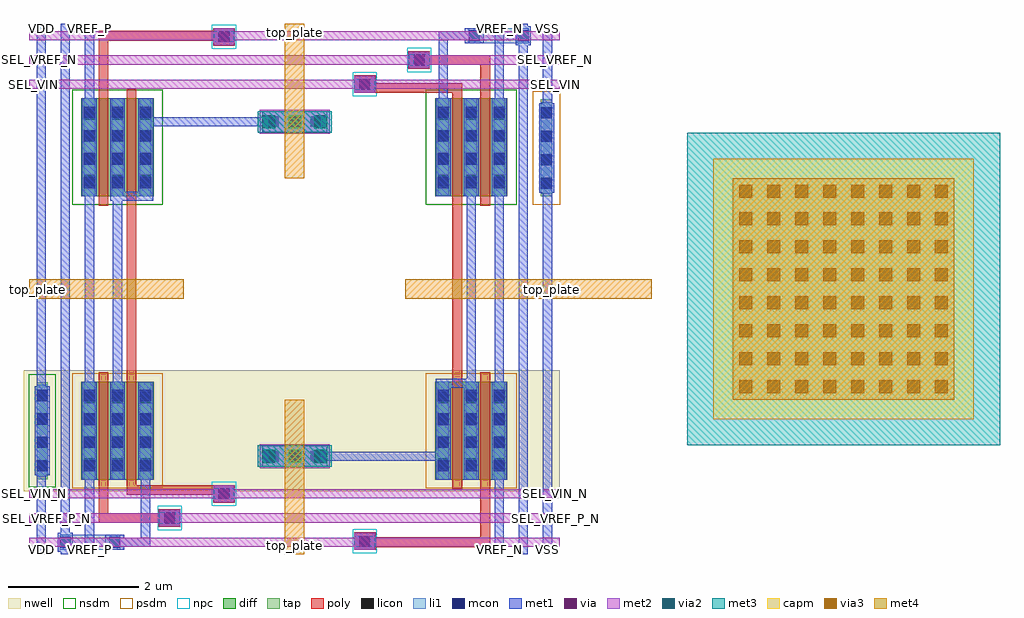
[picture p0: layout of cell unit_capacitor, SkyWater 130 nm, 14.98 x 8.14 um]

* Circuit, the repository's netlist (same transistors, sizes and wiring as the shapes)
* +++++++++++++++++++++++++++++++++++++++++++++++++++++ *
* CDL Netlist:                                          *
*                                                       *
* Cell Name  : unit_capacitor                           *
* Netlisted  : Wed Jul 15 21:54:36 2026                 *
* PVS Version: 16.10-p006 Thu Jul 27 18:05:02 PDT 2017 *
* +++++++++++++++++++++++++++++++++++++++++++++++++++++ *
*.LDD
*.DEVTMPLT 0 R(res_generic_m1) met1_res met1(P) met1(N)
*.DEVTMPLT 1 R(res_generic_m2) met2_res met2(P) met2(N)
*.DEVTMPLT 2 R(res_generic_m3) met3_res met3(P) met3(N)
*.DEVTMPLT 3 R(res_generic_m4) met4_res met4(P) met4(N)
*.DEVTMPLT 4 R(res_generic_m5) met5_res met5(P) met5(N)
*.DEVTMPLT 5 D(diode_pd2nw_05v5) diode_pd2nw_05v5_rec psd(PLUS) nwell(MINUS)
*.DEVTMPLT 6 D(diode_pd2nw_05v5_hvt) diode_pd2nw_05v5_hvt_rec psd(PLUS) nwell(MINUS)
*.DEVTMPLT 7 D(diode_pd2nw_05v5_lvt) diode_pd2nw_05v5_lvt_rec psd(PLUS) nwell(MINUS)
*.DEVTMPLT 8 D(diode_pd2nw_11v0) diode_pd2nw_11v0_rec psd(PLUS) nwell(MINUS)
*.DEVTMPLT 9 D(diode_pw2nd_05v5) diode_pw2nd_05v5_rec pwell_all(PLUS) nsd(MINUS)
*.DEVTMPLT 10 D(diode_pw2nd_05v5_lvt) diode_pw2nd_05v5_lvt_rec pwell_all(PLUS) nsd(MINUS)
*.DEVTMPLT 11 D(diode_pw2nd_05v5_nvt) diode_pw2nd_05v5_nvt_rec pwell_all(PLUS) nsd(MINUS)
*.DEVTMPLT 12 D(diode_pw2nd_11v0) diode_pw2nd_11v0_rec pwell_all(PLUS) nsd(MINUS)
*.DEVTMPLT 13 R(RES_GENERIC_ND) diff_res np_term(P) np_term(N)
*.DEVTMPLT 14 R(RES_GENERIC_PD) diff_res pp_term(P) pp_term(N)
*.DEVTMPLT 15 MN(nfet_01v8) nfet_01v8_rec nSourceDrain(D) nfet(G) nSourceDrain(S) pwell_all(B)
*.DEVTMPLT 16 MP(pfet_01v8) pfet_01v8_rec pSourceDrain(D) pfet(G) pSourceDrain(S) nwell(B)
*.DEVTMPLT 17 MP(pfet_01v8_lvt) lvtpfet_01v8_rec pSourceDrain(D) lvtpfet(G) pSourceDrain(S) nwell(B)
*.DEVTMPLT 18 MN(nfet_01v8_lvt) lvtnfet_01v8_rec nSourceDrain(D) lvtnfet(G) nSourceDrain(S) pwell_all(B)
*.DEVTMPLT 19 MP(pfet_01v8_hvt) hvtpfet_01v8_rec pSourceDrain(D) hvtpfet(G) pSourceDrain(S) nwell(B)
*.DEVTMPLT 20 MN(nfet_03v3_nvt) HV_ngate_3v3 HV_source_drain(D) HV_FET_gate(G) HV_source_drain(S) pwell_all(B)
*.DEVTMPLT 21 MN(nfet_05v0_nvt) HV_ngate_5v0 HV_source_drain(D) HV_FET_gate(G) HV_source_drain(S) pwell_all(B)
*.DEVTMPLT 22 MN(nfet_g5v0d10v5) HV_ngate_5v10v HV_source_drain(D) HV_FET_gate(G) HV_source_drain(S) pwell_all(B)
*.DEVTMPLT 23 MP(pfet_g5v0d10v5) HV_pgate_5v10v HV_source_drain(D) HV_FET_gate(G) HV_source_drain(S) nwell(B)
*.DEVTMPLT 24 MN(nfet_20v0) nfet_v20_rec nfet_v20_drain(D) nfet_v20_gate(G) nfet_v20_source(S) pwell_all(B)
*.DEVTMPLT 25 MN(nfet_20v0_zvt) nfet_v20_zvt_rec nfet_v20_drain(D) nfet_v20_gate(G) nfet_v20_source(S) pwell_all(B)
*.DEVTMPLT 26 MP(pfet_20v0) pfet_v20_rec pfet_v20_drain(D) pfet_v20_gate(G) pfet_v20_source(S) nwell(B)
*.DEVTMPLT 27 Q(npn_05v5) npn_rec npnC(C) npnB(B) npnE(E) pwell_all(BN)
*.DEVTMPLT 28 Q(npn_11v0) hvnpn_rec npnC(C) npnB(B) hvnpnE(E) pwell_all(BN)
*.DEVTMPLT 29 Q(pnp_05v5) pnp_rec pnpC(C) pnpB(B) pnpE(E) pwell_all(BN)
*.DEVTMPLT 30 R(res_high_po_0p35) res_high_po_0p35_rec prec_resistor_term(PLUS) prec_resistor_term(MINUS) pwell_all(B)
*.DEVTMPLT 31 R(res_high_po_0p69) res_high_po_0p69_rec prec_resistor_term(PLUS) prec_resistor_term(MINUS) pwell_all(B)
*.DEVTMPLT 32 R(res_high_po_1p41) res_high_po_1p41_rec prec_resistor_term(PLUS) prec_resistor_term(MINUS) pwell_all(B)
*.DEVTMPLT 33 R(res_high_po_2p85) res_high_po_2p85_rec prec_resistor_term(PLUS) prec_resistor_term(MINUS) pwell_all(B)
*.DEVTMPLT 34 R(res_high_po_5p73) res_high_po_5p73_rec prec_resistor_term(PLUS) prec_resistor_term(MINUS) pwell_all(B)
*.DEVTMPLT 35 R(res_xhigh_po_0p35) res_xhigh_po_0p35_rec prec_resistor_term(PLUS) prec_resistor_term(MINUS) pwell_all(B)
*.DEVTMPLT 36 R(res_xhigh_po_0p69) res_xhigh_po_0p69_rec prec_resistor_term(PLUS) prec_resistor_term(MINUS) pwell_all(B)
*.DEVTMPLT 37 R(res_xhigh_po_1p41) res_xhigh_po_1p41_rec prec_resistor_term(PLUS) prec_resistor_term(MINUS) pwell_all(B)
*.DEVTMPLT 38 R(res_xhigh_po_2p85) res_xhigh_po_2p85_rec prec_resistor_term(PLUS) prec_resistor_term(MINUS) pwell_all(B)
*.DEVTMPLT 39 R(res_xhigh_po_5p73) res_xhigh_po_5p73_rec prec_resistor_term(PLUS) prec_resistor_term(MINUS) pwell_all(B)
*.DEVTMPLT 40 C(cap_mim_m3__base) capacitor top_plate(PLUS) bottom_plate(MINUS)

* +++++++++++++++++++++++++++++++++++++++++++++++++++++ *
* Sub cell: cap_mim_m3__base$$9                         *
* +++++++++++++++++++++++++++++++++++++++++++++++++++++ *
.subckt cap_mim_m3__base$$9
** N=2 EP=0 FDC=1
C0 2 1 L=4e-06 W=4e-06 $[cap_mim_m3__base] $X=0 $Y=0 $dt=40
.ends cap_mim_m3__base$$9

* +++++++++++++++++++++++++++++++++++++++++++++++++++++ *
* Sub cell: pfet_01v8$$10                               *
* +++++++++++++++++++++++++++++++++++++++++++++++++++++ *
.subckt pfet_01v8$$10 1 2 3 5
** N=9 EP=4 FDC=1
M0 3 1 2 5 pfet_01v8 L=1.5e-07 W=1.5e-06 $X=0 $Y=0 $dt=16
.ends pfet_01v8$$10

* +++++++++++++++++++++++++++++++++++++++++++++++++++++ *
* Sub cell: nfet_01v8$$11                               *
* +++++++++++++++++++++++++++++++++++++++++++++++++++++ *
.subckt nfet_01v8$$11 1 2 3 4
** N=8 EP=4 FDC=1
M0 2 1 3 4 nfet_01v8 L=1.5e-07 W=1.5e-06 $X=0 $Y=0 $dt=15
.ends nfet_01v8$$11

* +++++++++++++++++++++++++++++++++++++++++++++++++++++ *
* Sub cell: pfet_01v8$$12                               *
* +++++++++++++++++++++++++++++++++++++++++++++++++++++ *
.subckt pfet_01v8$$12 1 2 3 5
** N=13 EP=4 FDC=1
M0 3 1 2 5 pfet_01v8 L=1.5e-07 W=1.5e-06 $X=0 $Y=0 $dt=16
.ends pfet_01v8$$12

* +++++++++++++++++++++++++++++++++++++++++++++++++++++ *
* Sub cell: nfet_01v8$$13                               *
* +++++++++++++++++++++++++++++++++++++++++++++++++++++ *
.subckt nfet_01v8$$13 1 2 3 4
** N=12 EP=4 FDC=1
M0 3 1 2 4 nfet_01v8 L=1.5e-07 W=1.5e-06 $X=0 $Y=0 $dt=15
.ends nfet_01v8$$13

* +++++++++++++++++++++++++++++++++++++++++++++++++++++ *
* Sub cell: unit_capacitor                              *
* +++++++++++++++++++++++++++++++++++++++++++++++++++++ *
.subckt unit_capacitor SEL_VIN SEL_VIN_N SEL_VREF_N SEL_VREF_N_N SEL_VREF_P SEL_VREF_P_N VDD VIN VREF_N VREF_P
+ VSS top_plate
** N=14 EP=12 FDC=9
X22 cap_mim_m3__base$$9 $T=10500 1200 0 0 $X=10100 $Y=800
X23 SEL_VIN_N VIN 11 VDD pfet_01v8$$10 $T=1645 275 1 180 $X=1260 $Y=95
X24 SEL_VIN 10 10 VDD pfet_01v8$$10 $T=6495 275 0 0 $X=6050 $Y=95
X25 SEL_VIN_N 11 11 VSS nfet_01v8$$11 $T=1495 4625 0 0 $X=1430 $Y=4475
X26 SEL_VIN VIN 10 VSS nfet_01v8$$11 $T=6645 4625 1 180 $X=6090 $Y=4475
X27 SEL_VREF_P_N 11 VREF_P VDD pfet_01v8$$12 $T=1215 275 1 180 $X=620 $Y=95
X28 SEL_VREF_N_N 10 VREF_N VDD pfet_01v8$$12 $T=6925 275 0 0 $X=6520 $Y=95
X29 SEL_VREF_P VREF_P 11 VSS nfet_01v8$$13 $T=1065 4625 0 0 $X=660 $Y=4475
X30 SEL_VREF_N VREF_N 10 VSS nfet_01v8$$13 $T=7075 4625 1 180 $X=6670 $Y=4475
.ends unit_capacitor

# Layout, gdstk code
from math import pi, radians
import gdstk
lib = gdstk.Library(unit=1e-6, precision=1e-09)
def R(c, l, rs):  # rectangles x0, y0, x1, y1
    for r in rs: c.add(gdstk.rectangle(r[:2], r[2:], *l))
def A(c, l, x, y, w, h, nx, ny, dx, dy):  # array of equal rectangles
    R(c, l, [(x+i*dx, y+j*dy, x+i*dx+w, y+j*dy+h) for i in range(nx) for j in range(ny)])
nwell = (64, 20)
diff = (65, 20)
tap = (65, 44)
poly = (66, 20)
licon = (66, 44)
li1 = (67, 20)
mcon = (67, 44)
met1 = (68, 20)
via = (68, 44)
met2 = (69, 20)
via2 = (69, 44)
met3 = (70, 20)
via3 = (70, 44)
met4 = (71, 20)
capm = (89, 44)
nsdm = (93, 44)
psdm = (94, 20)
npc = (95, 20)

cap_mim_m3__base__9 = lib.new_cell('cap_mim_m3__base$$9')
R(cap_mim_m3__base__9, met3, [(-0.4,-0.4,4.4,4.4)])
A(cap_mim_m3__base__9, via3, 0.4, 0.4, 0.2, 0.2, 6, 6, 0.43, 0.43)
A(cap_mim_m3__base__9, via3, 2.975, 0.4, 0.2, 0.2, 1, 6, 0, 0.43)
A(cap_mim_m3__base__9, via3, 3.4, 0.4, 0.2, 0.2, 1, 6, 0, 0.43)
A(cap_mim_m3__base__9, via3, 0.4, 2.975, 0.2, 0.2, 6, 2, 0.43, 0.425)
R(cap_mim_m3__base__9, via3, [(2.975,2.975,3.175,3.175), (3.4,2.975,3.6,3.175), (2.975,3.4,3.175,3.6), (3.4,3.4,3.6,3.6)])
R(cap_mim_m3__base__9, met4, [(0.3,0.3,3.7,3.7)])
R(cap_mim_m3__base__9, capm, [(0,0,4,4)])
cap_mim_m3__base__9.add(gdstk.Label('MINUS', (2,2), layer=70, texttype=20))
cap_mim_m3__base__9.add(gdstk.Label('PLUS', (2,2), layer=71, texttype=20))

pfet_01v8__10 = lib.new_cell('pfet_01v8$$10')
R(pfet_01v8__10, nwell, [(-0.445,-0.18,0.385,1.68)])
R(pfet_01v8__10, diff, [(-0.265,0,0,1.5), (0,0,0.15,1.5), (0.15,0,0.205,1.5)])
R(pfet_01v8__10, poly, [(0,-0.15,0.15,-0.095), (0,-0.095,0.15,0), (0,0,0.15,1.5), (0,1.5,0.15,1.595), (0,1.595,0.15,1.65)])
A(pfet_01v8__10, licon, -0.225, 0.155, 0.17, 0.17, 1, 4, 0, 0.34)
R(pfet_01v8__10, li1, [(-0.225,0,-0.055,1.5)])
A(pfet_01v8__10, mcon, -0.225, 0.125, 0.17, 0.17, 1, 4, 0, 0.36)
R(pfet_01v8__10, met1, [(-0.255,0,-0.025,1.5)])
R(pfet_01v8__10, psdm, [(-0.405,-0.13,0.215,1.63)])
pfet_01v8__10.add(gdstk.Label('D_drain_1', (0.177,0.75), layer=65, texttype=20))
pfet_01v8__10.add(gdstk.Label('S_source_0', (-0.132,0.75), layer=65, texttype=20))
pfet_01v8__10.add(gdstk.Label('G_gate_1', (0.075,-0.122), layer=66, texttype=20))
pfet_01v8__10.add(gdstk.Label('G_gate_1', (0.075,1.622), layer=66, texttype=20))
pfet_01v8__10.add(gdstk.Label('S_source_0', (-0.14,0.75), layer=68, texttype=20))
pfet_01v8__10.add(gdstk.Label('B', (-0.03,0.75), layer=64, texttype=20))

nfet_01v8__11 = lib.new_cell('nfet_01v8$$11')
R(nfet_01v8__11, diff, [(-0.055,0,0,1.5), (0,0,0.15,1.5), (0.15,0,0.415,1.5)])
R(nfet_01v8__11, poly, [(0,-0.15,0.15,-0.095), (0,-0.095,0.15,0), (0,0,0.15,1.5), (0,1.5,0.15,1.595), (0,1.595,0.15,1.65)])
A(nfet_01v8__11, licon, 0.205, 0.155, 0.17, 0.17, 1, 4, 0, 0.34)
R(nfet_01v8__11, li1, [(0.205,0,0.375,1.5)])
A(nfet_01v8__11, mcon, 0.205, 0.125, 0.17, 0.17, 1, 4, 0, 0.36)
R(nfet_01v8__11, met1, [(0.175,0,0.405,1.5)])
R(nfet_01v8__11, nsdm, [(-0.065,-0.13,0.555,1.63)])
nfet_01v8__11.add(gdstk.Label('D_drain_1', (0.282,0.75), layer=65, texttype=20))
nfet_01v8__11.add(gdstk.Label('S_source_0', (-0.027,0.75), layer=65, texttype=20))
nfet_01v8__11.add(gdstk.Label('G_gate_1', (0.075,-0.122), layer=66, texttype=20))
nfet_01v8__11.add(gdstk.Label('G_gate_1', (0.075,1.622), layer=66, texttype=20))
nfet_01v8__11.add(gdstk.Label('D_drain_1', (0.29,0.75), layer=68, texttype=20))

pfet_01v8__12 = lib.new_cell('pfet_01v8$$12')
R(pfet_01v8__12, nwell, [(-0.405,-0.18,0.595,1.68)])
R(pfet_01v8__12, diff, [(-0.225,0,0,1.5), (0,0,0.15,1.5), (0.15,0,0.415,1.5)])
R(pfet_01v8__12, poly, [(0,-0.15,0.15,-0.095), (0,-0.095,0.15,0), (0,0,0.15,1.5), (0,1.5,0.15,1.595), (0,1.595,0.15,1.65)])
A(pfet_01v8__12, licon, -0.225, 0.155, 0.17, 0.17, 1, 4, 0, 0.34)
A(pfet_01v8__12, licon, 0.205, 0.155, 0.17, 0.17, 1, 4, 0, 0.34)
R(pfet_01v8__12, li1, [(-0.225,0,-0.055,1.5), (0.205,0,0.375,1.5)])
A(pfet_01v8__12, mcon, -0.225, 0.125, 0.17, 0.17, 1, 4, 0, 0.36)
A(pfet_01v8__12, mcon, 0.205, 0.125, 0.17, 0.17, 1, 4, 0, 0.36)
R(pfet_01v8__12, met1, [(-0.255,0,-0.025,1.5), (0.175,0,0.405,1.5)])
R(pfet_01v8__12, psdm, [(-0.235,-0.13,0.555,1.63)])
pfet_01v8__12.add(gdstk.Label('D_drain_1', (0.282,0.75), layer=65, texttype=20))
pfet_01v8__12.add(gdstk.Label('S_source_0', (-0.112,0.75), layer=65, texttype=20))
pfet_01v8__12.add(gdstk.Label('G_gate_1', (0.075,-0.122), layer=66, texttype=20))
pfet_01v8__12.add(gdstk.Label('G_gate_1', (0.075,1.622), layer=66, texttype=20))
pfet_01v8__12.add(gdstk.Label('D_drain_1', (0.29,0.75), layer=68, texttype=20))
pfet_01v8__12.add(gdstk.Label('S_source_0', (-0.14,0.75), layer=68, texttype=20))
pfet_01v8__12.add(gdstk.Label('B', (0.095,0.75), layer=64, texttype=20))

nfet_01v8__13 = lib.new_cell('nfet_01v8$$13')
R(nfet_01v8__13, diff, [(-0.265,0,0,1.5), (0,0,0.15,1.5), (0.15,0,0.375,1.5)])
R(nfet_01v8__13, poly, [(0,-0.15,0.15,-0.095), (0,-0.095,0.15,0), (0,0,0.15,1.5), (0,1.5,0.15,1.595), (0,1.595,0.15,1.65)])
A(nfet_01v8__13, licon, -0.225, 0.155, 0.17, 0.17, 1, 4, 0, 0.34)
A(nfet_01v8__13, licon, 0.205, 0.155, 0.17, 0.17, 1, 4, 0, 0.34)
R(nfet_01v8__13, li1, [(-0.225,0,-0.055,1.5), (0.205,0,0.375,1.5)])
A(nfet_01v8__13, mcon, -0.225, 0.125, 0.17, 0.17, 1, 4, 0, 0.36)
A(nfet_01v8__13, mcon, 0.205, 0.125, 0.17, 0.17, 1, 4, 0, 0.36)
R(nfet_01v8__13, met1, [(-0.255,0,-0.025,1.5), (0.175,0,0.405,1.5)])
R(nfet_01v8__13, nsdm, [(-0.405,-0.13,0.385,1.63)])
nfet_01v8__13.add(gdstk.Label('D_drain_1', (0.262,0.75), layer=65, texttype=20))
nfet_01v8__13.add(gdstk.Label('S_source_0', (-0.132,0.75), layer=65, texttype=20))
nfet_01v8__13.add(gdstk.Label('G_gate_1', (0.075,-0.122), layer=66, texttype=20))
nfet_01v8__13.add(gdstk.Label('G_gate_1', (0.075,1.622), layer=66, texttype=20))
nfet_01v8__13.add(gdstk.Label('D_drain_1', (0.29,0.75), layer=68, texttype=20))
nfet_01v8__13.add(gdstk.Label('S_source_0', (-0.14,0.75), layer=68, texttype=20))

polyconn__1 = lib.new_cell('polyConn$$1')
R(polyconn__1, poly, [(-0.135,-0.165,0.135,0.165)])
R(polyconn__1, licon, [(-0.085,-0.085,0.085,0.085)])
R(polyconn__1, li1, [(-0.085,-0.165,0.085,0.165)])
R(polyconn__1, mcon, [(-0.085,-0.085,0.085,0.085)])
R(polyconn__1, met1, [(-0.13,-0.16,0.13,0.16)])
R(polyconn__1, npc, [(-0.185,-0.185,0.185,0.185)])

m1m2_c__2 = lib.new_cell('M1M2_C$$2')
R(m1m2_c__2, met1, [(-0.13,-0.16,0.13,0.16)])
R(m1m2_c__2, via, [(-0.075,-0.075,0.075,0.075)])
R(m1m2_c__2, met2, [(-0.13,-0.16,0.13,0.16)])

l1m1_c__3 = lib.new_cell('L1M1_C$$3')
R(l1m1_c__3, li1, [(-0.085,-0.115,0.085,0.115)])
R(l1m1_c__3, mcon, [(-0.085,-0.085,0.085,0.085)])
R(l1m1_c__3, met1, [(-0.115,-0.145,0.115,0.145)])

l1m1_c__4 = lib.new_cell('L1M1_C$$4')
R(l1m1_c__4, li1, [(-0.085,-0.115,0.085,0.115)])
R(l1m1_c__4, mcon, [(-0.085,-0.085,0.085,0.085)])
R(l1m1_c__4, met1, [(-0.145,-0.115,0.145,0.115)])

nwelltap__5 = lib.new_cell('nwellTap$$5')
R(nwelltap__5, nwell, [(-0.265,-0.925,0.265,0.925)])
R(nwelltap__5, tap, [(-0.085,-0.745,0.085,0.745)])
A(nwelltap__5, licon, -0.085, -0.625, 0.17, 0.17, 1, 4, 0, 0.36)
R(nwelltap__5, li1, [(-0.085,-0.705,0.085,0.705)])
A(nwelltap__5, mcon, -0.085, -0.625, 0.17, 0.17, 1, 4, 0, 0.36)
R(nwelltap__5, met1, [(-0.115,-0.685,0.115,0.685)])
R(nwelltap__5, nsdm, [(-0.21,-0.87,0.21,0.87)])

subtap__6 = lib.new_cell('subTap$$6')
R(subtap__6, tap, [(-0.085,-0.745,0.085,0.745)])
A(subtap__6, licon, -0.085, -0.625, 0.17, 0.17, 1, 4, 0, 0.36)
R(subtap__6, li1, [(-0.085,-0.705,0.085,0.705)])
A(subtap__6, mcon, -0.085, -0.625, 0.17, 0.17, 1, 4, 0, 0.36)
R(subtap__6, met1, [(-0.115,-0.685,0.115,0.685)])
R(subtap__6, psdm, [(-0.21,-0.87,0.21,0.87)])

m2m3_c__7 = lib.new_cell('M2M3_C$$7')
R(m2m3_c__7, met2, [(-0.54,-0.185,0.54,0.185)])
A(m2m3_c__7, via2, -0.5, -0.1, 0.2, 0.2, 3, 1, 0.4, 0)
R(m2m3_c__7, met3, [(-0.565,-0.165,0.565,0.165)])

m1m2_c__8 = lib.new_cell('M1M2_C$$8')
R(m1m2_c__8, met1, [(-0.5,-0.16,0.5,0.16)])
A(m1m2_c__8, via, -0.395, -0.075, 0.15, 0.15, 3, 1, 0.32, 0)
R(m1m2_c__8, met2, [(-0.54,-0.185,0.54,0.185)])

unit_capacitor = lib.new_cell('unit_capacitor')
R(unit_capacitor, nwell, [(-0.08,0.095,8.14,1.955)])
A(unit_capacitor, met1, 0.115, -0.87, 0.14, 0.14, 3, 2, 0.37, 8)
A(unit_capacitor, met1, 7.145, -0.87, 0.14, 0.14, 3, 2, 0.37, 8)
A(unit_capacitor, met2, 0, -0.755, 0.14, 0.14, 1, 3, 0, 0.37)
A(unit_capacitor, met2, 8, -0.755, 0.14, 0.14, 1, 3, 0, 0.37)
A(unit_capacitor, met2, 0, 6.275, 0.14, 0.14, 1, 3, 0, 0.37)
A(unit_capacitor, met2, 8, 6.275, 0.14, 0.14, 1, 3, 0, 0.37)
R(unit_capacitor, met4, [(3.92,-0.87,4.22,-0.615), (0,3.05,0.255,3.35), (7.885,3.05,8.14,3.35), (3.92,7.015,4.22,7.27)])
unit_capacitor.add(gdstk.FlexPath([(8.14,3.2),(9.555,3.2)], 0.3, ends="flush", simple_path=True, layer=71, datatype=20))  # met4
unit_capacitor.add(gdstk.FlexPath([(4.07,7.015),(4.07,4.9)], 0.3, ends="flush", simple_path=True, layer=71, datatype=20))  # met4
unit_capacitor.add(gdstk.FlexPath([(0.255,3.2),(2.37,3.2)], 0.3, ends="flush", simple_path=True, layer=71, datatype=20))  # met4
unit_capacitor.add(gdstk.FlexPath([(8.075,3.2),(5.77,3.2)], 0.3, ends="flush", simple_path=True, layer=71, datatype=20))  # met4
unit_capacitor.add(gdstk.FlexPath([(4.07,-0.615),(4.07,1.5)], 0.3, ends="flush", simple_path=True, layer=71, datatype=20))  # met4
unit_capacitor.add(gdstk.FlexPath([(3.66,5.765),(4.075,5.765)], 0.33, ends=(0.15, 0), simple_path=True, layer=70, datatype=20))  # met3
unit_capacitor.add(gdstk.FlexPath([(6.83,7.085),(7.585,7.085)], 0.23, ends="flush", simple_path=True, layer=67, datatype=20))  # li1
unit_capacitor.add(gdstk.FlexPath([(1.31,-0.685),(0.555,-0.685)], 0.23, ends="flush", simple_path=True, layer=67, datatype=20))  # li1
unit_capacitor.add(gdstk.FlexPath([(5.15,-0.685),(5.15,-0.67)], 0.15, ends=(0.075, 0), simple_path=True, layer=66, datatype=20))  # poly
unit_capacitor.add(gdstk.FlexPath([(7,-0.685),(5.15,-0.685)], 0.15, ends="extended", simple_path=True, layer=66, datatype=20))  # poly
unit_capacitor.add(gdstk.FlexPath([(2.99,7.085),(2.99,7.07)], 0.15, ends=(0.075, 0), simple_path=True, layer=66, datatype=20))  # poly
unit_capacitor.add(gdstk.FlexPath([(1.14,7.085),(2.99,7.085)], 0.15, ends="extended", simple_path=True, layer=66, datatype=20))  # poly
unit_capacitor.add(gdstk.FlexPath([(6.57,4.475),(6.57,1.925)], 0.15, ends="flush", simple_path=True, layer=66, datatype=20))  # poly
unit_capacitor.add(gdstk.FlexPath([(1.57,0.115),(2.99,0.115)], 0.15, ends=(0.075, 0.165), simple_path=True, layer=66, datatype=20))  # poly
unit_capacitor.add(gdstk.FlexPath([(6.57,6.295),(6.57,6.285)], 0.15, ends=(0, 0.075), simple_path=True, layer=66, datatype=20))  # poly
unit_capacitor.add(gdstk.FlexPath([(7,6.715),(5.985,6.715)], 0.15, ends=(0.075, 0), simple_path=True, layer=66, datatype=20))  # poly
unit_capacitor.add(gdstk.FlexPath([(1.14,0.125),(1.14,-0.315)], 0.15, ends=(0, 0.075), simple_path=True, layer=66, datatype=20))  # poly
unit_capacitor.add(gdstk.FlexPath([(1.14,6.275),(1.14,7.085)], 0.15, ends=(0, 0.075), simple_path=True, layer=66, datatype=20))  # poly
unit_capacitor.add(gdstk.FlexPath([(6.57,6.285),(5.15,6.285)], 0.15, ends=(0.075, 0.165), simple_path=True, layer=66, datatype=20))  # poly
unit_capacitor.add(gdstk.FlexPath([(1.57,0.105),(1.57,0.115)], 0.15, ends=(0, 0.075), simple_path=True, layer=66, datatype=20))  # poly
unit_capacitor.add(gdstk.FlexPath([(5.15,6.285),(5.15,6.345)], 0.33, ends=(0.075, 0), simple_path=True, layer=66, datatype=20))  # poly
unit_capacitor.add(gdstk.FlexPath([(2.99,0.115),(2.99,0.055)], 0.33, ends=(0.075, 0), simple_path=True, layer=66, datatype=20))  # poly
unit_capacitor.add(gdstk.FlexPath([(7,6.275),(7,6.715)], 0.15, ends=(0, 0.075), simple_path=True, layer=66, datatype=20))  # poly
unit_capacitor.add(gdstk.FlexPath([(1.57,4.495),(1.57,1.905)], 0.15, ends="flush", simple_path=True, layer=66, datatype=20))  # poly
unit_capacitor.add(gdstk.FlexPath([(7,0.125),(7,-0.685)], 0.15, ends=(0, 0.075), simple_path=True, layer=66, datatype=20))  # poly
unit_capacitor.add(gdstk.FlexPath([(1.14,-0.315),(2.155,-0.315)], 0.15, ends=(0.075, 0), simple_path=True, layer=66, datatype=20))  # poly
unit_capacitor.add(gdstk.FlexPath([(1.355,1.755),(1.355,4.625)], 0.14, ends=(0, 0.07), simple_path=True, layer=68, datatype=20))  # met1
unit_capacitor.add(gdstk.FlexPath([(1.355,4.625),(1.24,4.625)], 0.14, ends=(0.07, 0), simple_path=True, layer=68, datatype=20))  # met1
unit_capacitor.add(gdstk.FlexPath([(6.31,1.755),(6.785,1.755)], 0.14, ends="extended", simple_path=True, layer=68, datatype=20))  # met1
unit_capacitor.add(gdstk.FlexPath([(1.355,4.625),(1.355,4.715)], 0.14, ends="extended", simple_path=True, layer=68, datatype=20))  # met1
unit_capacitor.add(gdstk.FlexPath([(6.355,5.075),(6.355,7.085)], 0.14, ends=(0, 0.07), simple_path=True, layer=68, datatype=20))  # met1
unit_capacitor.add(gdstk.FlexPath([(7.585,7.27),(7.585,7.085)], 0.14, ends="flush", simple_path=True, layer=68, datatype=20))  # met1
unit_capacitor.add(gdstk.FlexPath([(0.555,-0.685),(0.555,7.27)], 0.14, ends="flush", simple_path=True, layer=68, datatype=20))  # met1
unit_capacitor.add(gdstk.FlexPath([(1.785,1.325),(1.785,-0.685)], 0.14, ends=(0, 0.07), simple_path=True, layer=68, datatype=20))  # met1
unit_capacitor.add(gdstk.FlexPath([(4.075,5.765),(1.9,5.765)], 0.14, ends="flush", simple_path=True, layer=68, datatype=20))  # met1
unit_capacitor.add(gdstk.FlexPath([(6.355,7.085),(6.83,7.085)], 0.14, ends=(0.07, 0), simple_path=True, layer=68, datatype=20))  # met1
unit_capacitor.add(gdstk.FlexPath([(4.075,0.635),(6.24,0.635)], 0.14, ends="flush", simple_path=True, layer=68, datatype=20))  # met1
unit_capacitor.add(gdstk.FlexPath([(0.555,-0.87),(0.555,-0.685)], 0.14, ends="flush", simple_path=True, layer=68, datatype=20))  # met1
unit_capacitor.add(gdstk.FlexPath([(1.355,4.715),(1.24,4.715)], 0.14, ends=(0.07, 0), simple_path=True, layer=68, datatype=20))  # met1
unit_capacitor.add(gdstk.FlexPath([(1.83,4.625),(1.355,4.625)], 0.14, ends="extended", simple_path=True, layer=68, datatype=20))  # met1
unit_capacitor.add(gdstk.FlexPath([(1.785,-0.685),(1.31,-0.685)], 0.14, ends=(0.07, 0), simple_path=True, layer=68, datatype=20))  # met1
unit_capacitor.add(gdstk.FlexPath([(0.185,7.27),(0.185,-0.87)], 0.14, ends="flush", simple_path=True, layer=68, datatype=20))  # met1
unit_capacitor.add(gdstk.FlexPath([(6.785,1.755),(6.785,4.645)], 0.14, ends=(0.07, 0), simple_path=True, layer=68, datatype=20))  # met1
unit_capacitor.add(gdstk.FlexPath([(0.925,7.27),(0.925,-0.87)], 0.14, ends="flush", simple_path=True, layer=68, datatype=20))  # met1
unit_capacitor.add(gdstk.FlexPath([(7.955,7.27),(7.955,-0.87)], 0.14, ends="flush", simple_path=True, layer=68, datatype=20))  # met1
unit_capacitor.add(gdstk.FlexPath([(7.585,7.085),(7.585,-0.87)], 0.14, ends="flush", simple_path=True, layer=68, datatype=20))  # met1
unit_capacitor.add(gdstk.FlexPath([(7.215,7.27),(7.215,-0.87)], 0.14, ends="flush", simple_path=True, layer=68, datatype=20))  # met1
unit_capacitor.add(gdstk.FlexPath([(0,7.085),(8.14,7.085)], 0.14, ends="flush", simple_path=True, layer=69, datatype=20))  # met2
unit_capacitor.add(gdstk.FlexPath([(0,6.715),(8.14,6.715)], 0.14, ends="flush", simple_path=True, layer=69, datatype=20))  # met2
unit_capacitor.add(gdstk.FlexPath([(0,6.345),(8.14,6.345)], 0.14, ends="flush", simple_path=True, layer=69, datatype=20))  # met2
unit_capacitor.add(gdstk.FlexPath([(0,-0.685),(8.14,-0.685)], 0.14, ends="flush", simple_path=True, layer=69, datatype=20))  # met2
unit_capacitor.add(gdstk.FlexPath([(0,-0.315),(8.14,-0.315)], 0.14, ends="flush", simple_path=True, layer=69, datatype=20))  # met2
unit_capacitor.add(gdstk.FlexPath([(0,0.055),(8.14,0.055)], 0.14, ends="flush", simple_path=True, layer=69, datatype=20))  # met2
unit_capacitor.add(gdstk.Reference(cap_mim_m3__base__9, (10.5,1.2)))
unit_capacitor.add(gdstk.Reference(pfet_01v8__10, (6.495,0.275)))
unit_capacitor.add(gdstk.Reference(pfet_01v8__10, (1.645,0.275), rotation=pi, x_reflection=True))
unit_capacitor.add(gdstk.Reference(nfet_01v8__11, (1.495,4.625)))
unit_capacitor.add(gdstk.Reference(nfet_01v8__11, (6.645,4.625), rotation=pi, x_reflection=True))
unit_capacitor.add(gdstk.Reference(pfet_01v8__12, (1.215,0.275), rotation=pi, x_reflection=True))
unit_capacitor.add(gdstk.Reference(pfet_01v8__12, (6.925,0.275)))
unit_capacitor.add(gdstk.Reference(nfet_01v8__13, (1.065,4.625)))
unit_capacitor.add(gdstk.Reference(nfet_01v8__13, (7.075,4.625), rotation=pi, x_reflection=True))
unit_capacitor.add(gdstk.Reference(polyconn__1, (5.985,6.715), rotation=pi/2))
unit_capacitor.add(gdstk.Reference(polyconn__1, (2.99,0.055), rotation=pi/2))
unit_capacitor.add(gdstk.Reference(polyconn__1, (5.15,6.345), rotation=pi/2))
unit_capacitor.add(gdstk.Reference(polyconn__1, (5.15,-0.67), rotation=pi/2))
unit_capacitor.add(gdstk.Reference(polyconn__1, (2.99,7.07), rotation=pi/2))
unit_capacitor.add(gdstk.Reference(polyconn__1, (2.155,-0.315), rotation=pi/2))
unit_capacitor.add(gdstk.Reference(m1m2_c__2, (5.985,6.715), rotation=pi/2))
unit_capacitor.add(gdstk.Reference(m1m2_c__2, (2.99,0.055), rotation=pi/2))
unit_capacitor.add(gdstk.Reference(m1m2_c__2, (5.15,6.345), rotation=pi/2))
unit_capacitor.add(gdstk.Reference(m1m2_c__2, (5.15,-0.67), rotation=pi/2))
unit_capacitor.add(gdstk.Reference(m1m2_c__2, (2.99,7.07), rotation=pi/2))
unit_capacitor.add(gdstk.Reference(m1m2_c__2, (2.155,-0.315), rotation=pi/2))
unit_capacitor.add(gdstk.Reference(l1m1_c__3, (7.585,7.085)))
unit_capacitor.add(gdstk.Reference(l1m1_c__3, (0.555,-0.685)))
unit_capacitor.add(gdstk.Reference(l1m1_c__4, (6.83,7.085)))
unit_capacitor.add(gdstk.Reference(l1m1_c__4, (1.31,-0.685)))
unit_capacitor.add(gdstk.Reference(nwelltap__5, (0.2,1.025)))
unit_capacitor.add(gdstk.Reference(subtap__6, (7.94,5.365)))
unit_capacitor.add(gdstk.Reference(m2m3_c__7, (4.075,0.635)))
unit_capacitor.add(gdstk.Reference(m2m3_c__7, (4.075,5.765)))
unit_capacitor.add(gdstk.Reference(m1m2_c__8, (4.075,0.635)))
unit_capacitor.add(gdstk.Reference(m1m2_c__8, (4.075,5.765)))
unit_capacitor.add(gdstk.Label('top_plate', (4.07,-0.742), layer=71, texttype=20))
unit_capacitor.add(gdstk.Label('top_plate', (8.012,3.2), layer=71, texttype=20))
unit_capacitor.add(gdstk.Label('top_plate', (0.127,3.2), layer=71, texttype=20))
unit_capacitor.add(gdstk.Label('top_plate', (4.07,7.142), layer=71, texttype=20))
unit_capacitor.add(gdstk.Label('VREF_P', (0.925,-0.8), layer=68, texttype=20))
unit_capacitor.add(gdstk.Label('VIN', (0.555,-0.8), layer=68, texttype=20))
unit_capacitor.add(gdstk.Label('VDD', (0.185,-0.8), layer=68, texttype=20))
unit_capacitor.add(gdstk.Label('VSS', (7.955,-0.8), layer=68, texttype=20))
unit_capacitor.add(gdstk.Label('VIN', (7.585,-0.8), layer=68, texttype=20))
unit_capacitor.add(gdstk.Label('VREF_N', (7.215,-0.8), layer=68, texttype=20))
unit_capacitor.add(gdstk.Label('VSS', (7.955,7.2), layer=68, texttype=20))
unit_capacitor.add(gdstk.Label('VIN', (7.585,7.2), layer=68, texttype=20))
unit_capacitor.add(gdstk.Label('VREF_N', (7.215,7.2), layer=68, texttype=20))
unit_capacitor.add(gdstk.Label('VREF_P', (0.925,7.2), layer=68, texttype=20))
unit_capacitor.add(gdstk.Label('VIN', (0.555,7.2), layer=68, texttype=20))
unit_capacitor.add(gdstk.Label('VDD', (0.185,7.2), layer=68, texttype=20))
unit_capacitor.add(gdstk.Label('SEL_VREF_N', (8.07,6.715), layer=69, texttype=20))
unit_capacitor.add(gdstk.Label('SEL_VIN', (8.07,6.345), layer=69, texttype=20))
unit_capacitor.add(gdstk.Label('SEL_VREF_P', (8.07,7.085), layer=69, texttype=20))
unit_capacitor.add(gdstk.Label('SEL_VREF_N_N', (8.07,-0.685), layer=69, texttype=20))
unit_capacitor.add(gdstk.Label('SEL_VIN_N', (8.07,0.055), layer=69, texttype=20))
unit_capacitor.add(gdstk.Label('SEL_VREF_P_N', (8.07,-0.315), layer=69, texttype=20))
unit_capacitor.add(gdstk.Label('SEL_VREF_N_N', (0.07,-0.685), layer=69, texttype=20))
unit_capacitor.add(gdstk.Label('SEL_VIN_N', (0.07,0.055), layer=69, texttype=20))
unit_capacitor.add(gdstk.Label('SEL_VREF_P_N', (0.07,-0.315), layer=69, texttype=20))
unit_capacitor.add(gdstk.Label('SEL_VREF_N', (0.07,6.715), layer=69, texttype=20))
unit_capacitor.add(gdstk.Label('SEL_VIN', (0.07,6.345), layer=69, texttype=20))
unit_capacitor.add(gdstk.Label('SEL_VREF_P', (0.07,7.085), layer=69, texttype=20))
unit_capacitor.add(gdstk.Label('SEL_VREF_N', (7.69,6.715), layer=69, texttype=5))
unit_capacitor.add(gdstk.Label('SEL_VIN', (7.86,6.345), layer=69, texttype=5))
unit_capacitor.add(gdstk.Label('SEL_VREF_P', (7.695,7.085), layer=69, texttype=5))
unit_capacitor.add(gdstk.Label('SEL_VREF_N_N', (7.585,-0.685), layer=69, texttype=5))
unit_capacitor.add(gdstk.Label('SEL_VIN_N', (7.76,0.055), layer=69, texttype=5))
unit_capacitor.add(gdstk.Label('SEL_VREF_P_N', (7.595,-0.315), layer=69, texttype=5))
unit_capacitor.add(gdstk.Label('SEL_VREF_N_N', (0.56,-0.685), layer=69, texttype=5))
unit_capacitor.add(gdstk.Label('SEL_VIN_N', (0.39,0.055), layer=69, texttype=5))
unit_capacitor.add(gdstk.Label('SEL_VREF_P_N', (0.55,-0.315), layer=69, texttype=5))
unit_capacitor.add(gdstk.Label('SEL_VREF_N', (0.45,6.715), layer=69, texttype=5))
unit_capacitor.add(gdstk.Label('SEL_VIN', (0.285,6.345), layer=69, texttype=5))
unit_capacitor.add(gdstk.Label('SEL_VREF_P', (0.45,7.085), layer=69, texttype=5))
unit_capacitor.add(gdstk.Label('VREF_P', (0.925,-0.8), layer=68, texttype=5))
unit_capacitor.add(gdstk.Label('VIN', (0.555,-0.8), layer=68, texttype=5))
unit_capacitor.add(gdstk.Label('VDD', (0.185,-0.8), layer=68, texttype=5))
unit_capacitor.add(gdstk.Label('VSS', (7.955,-0.8), layer=68, texttype=5))
unit_capacitor.add(gdstk.Label('VIN', (7.585,-0.8), layer=68, texttype=5))
unit_capacitor.add(gdstk.Label('VREF_N', (7.215,-0.8), layer=68, texttype=5))
unit_capacitor.add(gdstk.Label('VSS', (7.955,7.2), layer=68, texttype=5))
unit_capacitor.add(gdstk.Label('VIN', (7.585,7.2), layer=68, texttype=5))
unit_capacitor.add(gdstk.Label('VREF_N', (7.215,7.2), layer=68, texttype=5))
unit_capacitor.add(gdstk.Label('VREF_P', (0.925,7.2), layer=68, texttype=5))
unit_capacitor.add(gdstk.Label('VIN', (0.555,7.2), layer=68, texttype=5))
unit_capacitor.add(gdstk.Label('VDD', (0.185,7.2), layer=68, texttype=5))
unit_capacitor.add(gdstk.Label('top_plate', (4.07,-0.745), layer=71, texttype=5))
unit_capacitor.add(gdstk.Label('top_plate', (7.8,3.2), layer=71, texttype=5))
unit_capacitor.add(gdstk.Label('top_plate', (0.34,3.2), layer=71, texttype=5))
unit_capacitor.add(gdstk.Label('top_plate', (4.07,7.16), layer=71, texttype=5))

lib.write_gds('unit_capacitor.gds')
